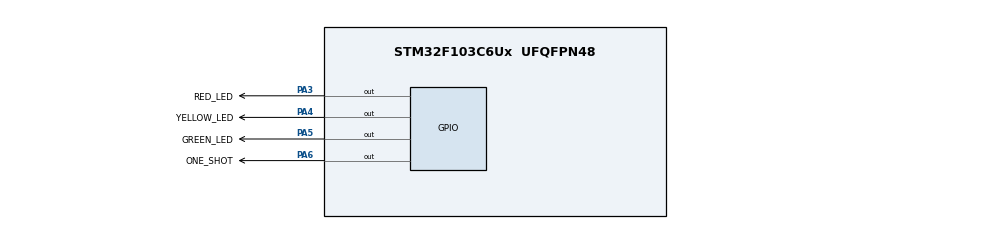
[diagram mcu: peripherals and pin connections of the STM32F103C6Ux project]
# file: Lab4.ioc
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Mcu.Family=STM32F1
Mcu.Name=STM32F103C6Ux
Mcu.Package=UFQFPN48
NVIC.PriorityGroup=NVIC_PRIORITYGROUP_4
NVIC.TIM2_IRQn=true\:0\:0\:false\:false\:true\:true\:true
PA3.GPIO_Label=RED_LED
PA3.Signal=GPIO_Output
PA4.GPIO_Label=YELLOW_LED
PA4.Signal=GPIO_Output
PA5.GPIO_Label=GREEN_LED
PA5.Signal=GPIO_Output
PA6.GPIO_Label=ONE_SHOT
PA6.Signal=GPIO_Output
ProjectManager.HeapSize=0x200
ProjectManager.StackSize=0x400
ProjectManager.TargetToolchain=STM32CubeIDE
RCC.APB1Freq_Value=8000000
RCC.APB2Freq_Value=8000000
TIM2.Period=9
TIM2.Prescaler=7999
VP_SYS_VS_ND.Mode=No_Debug
VP_TIM2_VS_ClockSourceINT.Mode=Internal
board=custom

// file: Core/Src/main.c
/* USER CODE BEGIN Header */
/**
  ******************************************************************************
  * @file           : main.c
  * @brief          : Main program body
  ******************************************************************************
  * @attention
  *
  * <h2><center>&copy; Copyright (c) 2024 STMicroelectronics.
  * All rights reserved.</center></h2>
  *
  * This software component is licensed by ST under BSD 3-Clause license,
  * the "License"; You may not use this file except in compliance with the
  * License. You may obtain a copy of the License at:
  *                        opensource.org/licenses/BSD-3-Clause
  *
  ******************************************************************************
  */
/* USER CODE END Header */
#include "main.h"
#include "scheduler.h"

/* USER CODE BEGIN PD */
void ledred();
void ledyellow();
void ledgreen();
void ledoneshot();
/* USER CODE END PD */

TIM_HandleTypeDef htim2;

void SystemClock_Config(void);
static void MX_GPIO_Init(void);
static void MX_TIM2_Init(void);

/* USER CODE BEGIN 0 */
void ledred(){
	HAL_GPIO_TogglePin(RED_LED_GPIO_Port, RED_LED_Pin);
}
void ledyellow(){
	HAL_GPIO_TogglePin(YELLOW_LED_GPIO_Port, YELLOW_LED_Pin);
}
void ledgreen(){
	HAL_GPIO_TogglePin(GREEN_LED_GPIO_Port, GREEN_LED_Pin);
}
void ledoneshot(){
	HAL_GPIO_TogglePin(ONE_SHOT_GPIO_Port, ONE_SHOT_Pin);
}
/* USER CODE END 0 */

int main(void)
{

  /* MCU Configuration--------------------------------------------------------*/

  /* Reset of all peripherals, Initializes the Flash interface and the Systick. */
  HAL_Init();

  /* Configure the system clock */
  SystemClock_Config();

  /* USER CODE BEGIN SysInit */
  SCH_Init();
  /* USER CODE END SysInit */

  /* Initialize all configured peripherals */
  MX_GPIO_Init();
  MX_TIM2_Init();
  /* USER CODE BEGIN 2 */
  HAL_TIM_Base_Start_IT (& htim2);
  /* USER CODE END 2 */

  /* Infinite loop */
  /* USER CODE BEGIN WHILE */
  SCH_Add_Task(ledgreen, 0, 50);
  SCH_Add_Task(ledyellow, 100, 100);
  SCH_Add_Task(ledred, 200, 150);
  SCH_Add_Task(ledoneshot, 300, 0);

  while (1)
  {
	  SCH_Dispatch_Tasks();
    /* USER CODE END WHILE */

  }
}

void SystemClock_Config(void)
{
  RCC_OscInitTypeDef RCC_OscInitStruct = {0};
  RCC_ClkInitTypeDef RCC_ClkInitStruct = {0};

  /** Initializes the RCC Oscillators according to the specified parameters
  * in the RCC_OscInitTypeDef structure.
  */
  RCC_OscInitStruct.OscillatorType = RCC_OSCILLATORTYPE_HSI;
  RCC_OscInitStruct.HSIState = RCC_HSI_ON;
  RCC_OscInitStruct.HSICalibrationValue = RCC_HSICALIBRATION_DEFAULT;
  RCC_OscInitStruct.PLL.PLLState = RCC_PLL_NONE;
  if (HAL_RCC_OscConfig(&RCC_OscInitStruct) != HAL_OK)
  {
    Error_Handler();
  }
  /** Initializes the CPU, AHB and APB buses clocks
  */
  RCC_ClkInitStruct.ClockType = RCC_CLOCKTYPE_HCLK|RCC_CLOCKTYPE_SYSCLK
                              |RCC_CLOCKTYPE_PCLK1|RCC_CLOCKTYPE_PCLK2;
  RCC_ClkInitStruct.SYSCLKSource = RCC_SYSCLKSOURCE_HSI;
  RCC_ClkInitStruct.AHBCLKDivider = RCC_SYSCLK_DIV1;
  RCC_ClkInitStruct.APB1CLKDivider = RCC_HCLK_DIV1;
  RCC_ClkInitStruct.APB2CLKDivider = RCC_HCLK_DIV1;

  if (HAL_RCC_ClockConfig(&RCC_ClkInitStruct, FLASH_LATENCY_0) != HAL_OK)
  {
    Error_Handler();
  }
}

static void MX_TIM2_Init(void)
{

  TIM_ClockConfigTypeDef sClockSourceConfig = {0};
  TIM_MasterConfigTypeDef sMasterConfig = {0};

  htim2.Instance = TIM2;
  htim2.Init.Prescaler = 7999;
  htim2.Init.CounterMode = TIM_COUNTERMODE_UP;
  htim2.Init.Period = 9;
  htim2.Init.ClockDivision = TIM_CLOCKDIVISION_DIV1;
  htim2.Init.AutoReloadPreload = TIM_AUTORELOAD_PRELOAD_DISABLE;
  if (HAL_TIM_Base_Init(&htim2) != HAL_OK)
  {
    Error_Handler();
  }
  sClockSourceConfig.ClockSource = TIM_CLOCKSOURCE_INTERNAL;
  if (HAL_TIM_ConfigClockSource(&htim2, &sClockSourceConfig) != HAL_OK)
  {
    Error_Handler();
  }
  sMasterConfig.MasterOutputTrigger = TIM_TRGO_RESET;
  sMasterConfig.MasterSlaveMode = TIM_MASTERSLAVEMODE_DISABLE;
  if (HAL_TIMEx_MasterConfigSynchronization(&htim2, &sMasterConfig) != HAL_OK)
  {
    Error_Handler();
  }

}

static void MX_GPIO_Init(void)
{
  GPIO_InitTypeDef GPIO_InitStruct = {0};

  /* GPIO Ports Clock Enable */
  __HAL_RCC_GPIOA_CLK_ENABLE();

  /*Configure GPIO pin Output Level */
  HAL_GPIO_WritePin(GPIOA, RED_LED_Pin|YELLOW_LED_Pin|GREEN_LED_Pin|ONE_SHOT_Pin, GPIO_PIN_RESET);

  /*Configure GPIO pins : RED_LED_Pin YELLOW_LED_Pin GREEN_LED_Pin ONE_SHOT_Pin */
  GPIO_InitStruct.Pin = RED_LED_Pin|YELLOW_LED_Pin|GREEN_LED_Pin|ONE_SHOT_Pin;
  GPIO_InitStruct.Mode = GPIO_MODE_OUTPUT_PP;
  GPIO_InitStruct.Pull = GPIO_NOPULL;
  GPIO_InitStruct.Speed = GPIO_SPEED_FREQ_LOW;
  HAL_GPIO_Init(GPIOA, &GPIO_InitStruct);

}

/* USER CODE BEGIN 4 */
void HAL_TIM_PeriodElapsedCallback(TIM_HandleTypeDef *htim){
	SCH_Update();
}
/* USER CODE END 4 */

void Error_Handler(void)
{
  __disable_irq();
  while (1)
  {
  }
}

/************************ (C) COPYRIGHT STMicroelectronics *****END OF FILE****/
